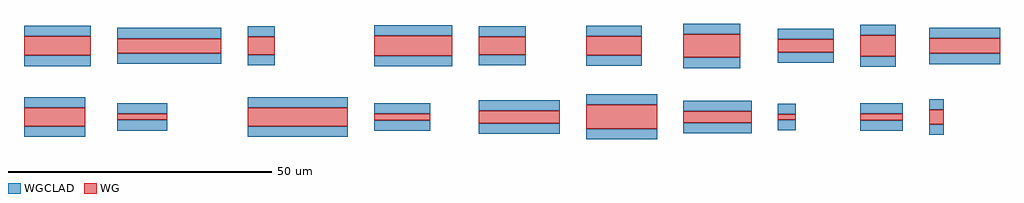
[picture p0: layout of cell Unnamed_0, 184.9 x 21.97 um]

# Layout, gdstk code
import gdstk
lib = gdstk.Library(unit=1e-6, precision=1e-09)
def R(c, l, rs):  # rectangles x0, y0, x1, y1
    for r in rs: c.add(gdstk.rectangle(r[:2], r[2:], *l))
WG = (1, 0)
WGCLAD = (111, 0)

straight_cssym_f7fe636c_ = lib.new_cell('straight_CSsym_f7fe636c_3460_L8919')
R(straight_cssym_f7fe636c_, WG, [(0,-1.73,8.919,1.73)])
R(straight_cssym_f7fe636c_, WGCLAD, [(0,-3.73,8.919,-1.73), (0,1.73,8.919,3.73)])

c_straight_cssym_f7fe636c_ = lib.new_cell('straight_CSsym_f7fe636c_3834_L14789')
R(c_straight_cssym_f7fe636c_, WG, [(0,-1.917,14.789,1.917)])
R(c_straight_cssym_f7fe636c_, WGCLAD, [(0,-3.917,14.789,-1.917), (0,1.917,14.789,3.917)])

c_straight_cssym_f7fe636c__ = lib.new_cell('straight_CSsym_f7fe636c_3498_L11612')
R(c_straight_cssym_f7fe636c__, WG, [(0,-1.749,11.612,1.749)])
R(c_straight_cssym_f7fe636c__, WGCLAD, [(0,-3.749,11.612,-1.749), (0,1.749,11.612,3.749)])

c_straight_cssym_f7fe636c___ = lib.new_cell('straight_CSsym_f7fe636c_1132_L9501')
R(c_straight_cssym_f7fe636c___, WG, [(0,-0.566,9.501,0.566)])
R(c_straight_cssym_f7fe636c___, WGCLAD, [(0,-2.566,9.501,-0.566), (0,0.566,9.501,2.566)])

c_straight_cssym_f7fe636c____ = lib.new_cell('straight_CSsym_f7fe636c_3442_L19001')
R(c_straight_cssym_f7fe636c____, WG, [(0,-1.721,19.001,1.721)])
R(c_straight_cssym_f7fe636c____, WGCLAD, [(0,-3.721,19.001,-1.721), (0,1.721,19.001,3.721)])

c_straight_cssym_f7fe636c_____ = lib.new_cell('straight_CSsym_f7fe636c_1162_L10552')
R(c_straight_cssym_f7fe636c_____, WG, [(0,-0.581,10.552,0.581)])
R(c_straight_cssym_f7fe636c_____, WGCLAD, [(0,-2.581,10.552,-0.581), (0,0.581,10.552,2.581)])

c_straight_cssym_f7fe636c______ = lib.new_cell('straight_CSsym_f7fe636c_2300_L15331')
R(c_straight_cssym_f7fe636c______, WG, [(0,-1.15,15.331,1.15)])
R(c_straight_cssym_f7fe636c______, WGCLAD, [(0,-3.15,15.331,-1.15), (0,1.15,15.331,3.15)])

c_straight_cssym_f7fe636c_______ = lib.new_cell('straight_CSsym_f7fe636c_4536_L13435')
R(c_straight_cssym_f7fe636c_______, WG, [(0,-2.268,13.435,2.268)])
R(c_straight_cssym_f7fe636c_______, WGCLAD, [(0,-4.268,13.435,-2.268), (0,2.268,13.435,4.268)])

c_straight_cssym_f7fe636c________ = lib.new_cell('straight_CSsym_f7fe636c_3518_L10511')
R(c_straight_cssym_f7fe636c________, WG, [(0,-1.759,10.511,1.759)])
R(c_straight_cssym_f7fe636c________, WGCLAD, [(0,-3.759,10.511,-1.759), (0,1.759,10.511,3.759)])

c_straight_cssym_f7fe636c_________ = lib.new_cell('straight_CSsym_f7fe636c_2220_L12894')
R(c_straight_cssym_f7fe636c_________, WG, [(0,-1.11,12.894,1.11)])
R(c_straight_cssym_f7fe636c_________, WGCLAD, [(0,-3.11,12.894,-1.11), (0,1.11,12.894,3.11)])

c_straight_cssym_f7fe636c__________ = lib.new_cell('straight_CSsym_f7fe636c_4436_L10765')
R(c_straight_cssym_f7fe636c__________, WG, [(0,-2.218,10.765,2.218)])
R(c_straight_cssym_f7fe636c__________, WGCLAD, [(0,-4.218,10.765,-2.218), (0,2.218,10.765,4.218)])

c_straight_cssym_f7fe636c___________ = lib.new_cell('straight_CSsym_f7fe636c_1068_L3392')
R(c_straight_cssym_f7fe636c___________, WG, [(0,-0.534,3.392,0.534)])
R(c_straight_cssym_f7fe636c___________, WGCLAD, [(0,-2.534,3.392,-0.534), (0,0.534,3.392,2.534)])

c_straight_cssym_f7fe636c____________ = lib.new_cell('straight_CSsym_f7fe636c_2484_L10569')
R(c_straight_cssym_f7fe636c____________, WG, [(0,-1.242,10.569,1.242)])
R(c_straight_cssym_f7fe636c____________, WGCLAD, [(0,-3.242,10.569,-1.242), (0,1.242,10.569,3.242)])

c_straight_cssym_f7fe636c_____________ = lib.new_cell('straight_CSsym_f7fe636c_1190_L8061')
R(c_straight_cssym_f7fe636c_____________, WG, [(0,-0.595,8.061,0.595)])
R(c_straight_cssym_f7fe636c_____________, WGCLAD, [(0,-2.595,8.061,-0.595), (0,0.595,8.061,2.595)])

c_straight_cssym_f7fe636c______________ = lib.new_cell('straight_CSsym_f7fe636c_3964_L6780')
R(c_straight_cssym_f7fe636c______________, WG, [(0,-1.982,6.78,1.982)])
R(c_straight_cssym_f7fe636c______________, WGCLAD, [(0,-3.982,6.78,-1.982), (0,1.982,6.78,3.982)])

c_straight_cssym_f7fe636c_______________ = lib.new_cell('straight_CSsym_f7fe636c_2772_L2756')
R(c_straight_cssym_f7fe636c_______________, WG, [(0,-1.386,2.756,1.386)])
R(c_straight_cssym_f7fe636c_______________, WGCLAD, [(0,-3.386,2.756,-1.386), (0,1.386,2.756,3.386)])

c_straight_cssym_f7fe636c________________ = lib.new_cell('straight_CSsym_f7fe636c_2916_L13444')
R(c_straight_cssym_f7fe636c________________, WG, [(0,-1.458,13.444,1.458)])
R(c_straight_cssym_f7fe636c________________, WGCLAD, [(0,-3.458,13.444,-1.458), (0,1.458,13.444,3.458)])

c_straight_cssym_f7fe636c_________________ = lib.new_cell('straight_CSsym_f7fe636c_3678_L12671')
R(c_straight_cssym_f7fe636c_________________, WG, [(0,-1.839,12.671,1.839)])
R(c_straight_cssym_f7fe636c_________________, WGCLAD, [(0,-3.839,12.671,-1.839), (0,1.839,12.671,3.839)])

c_straight_cssym_f7fe636c__________________ = lib.new_cell('straight_CSsym_f7fe636c_2744_L19710')
R(c_straight_cssym_f7fe636c__________________, WG, [(0,-1.372,19.71,1.372)])
R(c_straight_cssym_f7fe636c__________________, WGCLAD, [(0,-3.372,19.71,-1.372), (0,1.372,19.71,3.372)])

c_straight_cssym_f7fe636c___________________ = lib.new_cell('straight_CSsym_f7fe636c_3382_L5167')
R(c_straight_cssym_f7fe636c___________________, WG, [(0,-1.691,5.167,1.691)])
R(c_straight_cssym_f7fe636c___________________, WGCLAD, [(0,-3.691,5.167,-1.691), (0,1.691,5.167,3.691)])

unnamed_0 = lib.new_cell('Unnamed_0')
unnamed_0.add(gdstk.Reference(straight_cssym_f7fe636c_, (91.171,22.754)))
unnamed_0.add(gdstk.Reference(c_straight_cssym_f7fe636c_, (71.382,22.754)))
unnamed_0.add(gdstk.Reference(c_straight_cssym_f7fe636c__, (5,9.268)))
unnamed_0.add(gdstk.Reference(c_straight_cssym_f7fe636c___, (22.671,9.268)))
unnamed_0.add(gdstk.Reference(c_straight_cssym_f7fe636c____, (47.381,9.268)))
unnamed_0.add(gdstk.Reference(c_straight_cssym_f7fe636c_____, (71.382,9.268)))
unnamed_0.add(gdstk.Reference(c_straight_cssym_f7fe636c______, (91.171,9.268)))
unnamed_0.add(gdstk.Reference(c_straight_cssym_f7fe636c_______, (111.502,9.268)))
unnamed_0.add(gdstk.Reference(c_straight_cssym_f7fe636c________, (111.502,22.754)))
unnamed_0.add(gdstk.Reference(c_straight_cssym_f7fe636c_________, (129.937,9.268)))
unnamed_0.add(gdstk.Reference(c_straight_cssym_f7fe636c__________, (129.937,22.754)))
unnamed_0.add(gdstk.Reference(c_straight_cssym_f7fe636c___________, (147.831,9.268)))
unnamed_0.add(gdstk.Reference(c_straight_cssym_f7fe636c____________, (147.831,22.754)))
unnamed_0.add(gdstk.Reference(c_straight_cssym_f7fe636c_____________, (163.4,9.268)))
unnamed_0.add(gdstk.Reference(c_straight_cssym_f7fe636c______________, (163.4,22.754)))
unnamed_0.add(gdstk.Reference(c_straight_cssym_f7fe636c_______________, (176.461,9.268)))
unnamed_0.add(gdstk.Reference(c_straight_cssym_f7fe636c________________, (176.461,22.754)))
unnamed_0.add(gdstk.Reference(c_straight_cssym_f7fe636c_________________, (5,22.754)))
unnamed_0.add(gdstk.Reference(c_straight_cssym_f7fe636c__________________, (22.671,22.754)))
unnamed_0.add(gdstk.Reference(c_straight_cssym_f7fe636c___________________, (47.381,22.754)))

lib.write_gds('Unnamed_0.gds')
